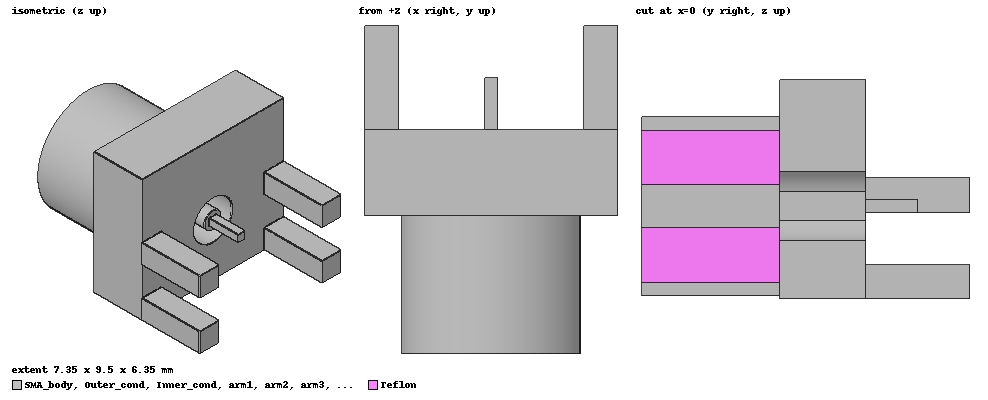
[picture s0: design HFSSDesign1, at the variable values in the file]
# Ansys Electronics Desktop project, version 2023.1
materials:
  vacuum: permittivity=1
  pec: conductivity=1e+30
  Teflon (tm): permittivity=2.1 dielectric_loss_tangent=0.001

design HFSSDesign1 (HFSS, HFSS Modal Network, model units mm)
options: Save_Adaptive_support_files
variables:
  SX = 7.35mm
  SY = 2.5mm
  SZ = 6.35mm
  subH = 1.5mm
  pinD = 0.36mm
  pinL = 1.5mm
  in = 0.43mm
  OutD = 2.6mm
  OutL = 4mm
  TefD = 2.2mm
  innerD = 0.63mm
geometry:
  SMA_body [pec] = box(corner=(-SX/2, 0mm, 0mm), size=(SX, SY, SZ))
  coordinate_system RelativeCS1 = origin=(3.675mm, 2.5mm, 0mm) x=(1mm, 0mm, 0mm) y=(0mm, 1mm, 0mm)
  arm1 [pec] = box(corner=(0mm, 0mm, 0mm), size=(-1mm, 3mm, 1mm)) in RelativeCS1
  coordinate_system RelativeCS2 = origin=(-7.35mm, 0mm, 0mm) x=(1mm, 0mm, 0mm) y=(0mm, 1mm, 0mm) in RelativeCS1
  arm2 [pec] = box(corner=(0mm, 0mm, 0mm), size=(1mm, 3mm, 1mm)) in RelativeCS2
  coordinate_system RelativeCS3 = origin=(0mm, 0mm, 1mm) x=(1mm, 0mm, 0mm) y=(0mm, 1mm, 0mm) in RelativeCS2
  coordinate_system RelativeCS4 = origin=(0mm, 0mm, subH) x=(1mm, 0mm, 0mm) y=(0mm, 1mm, 0mm) in RelativeCS3
  coordinate_system Center_CS = origin=(SX/2, 0mm, 0mm) x=(1mm, 0mm, 0mm) y=(0mm, 1mm, 0mm) in RelativeCS4
  coordinate_system pin_CS = origin=(0mm, 0mm, pinD/2) x=(1mm, 0mm, 0mm) y=(0mm, 1mm, 0mm) in Center_CS
  Center_pin [pec] = box(corner=(-pinD/2, 0mm, -pinD/2), size=(pinD, pinL, pinD)) in pin_CS
  Vacuum_cyl = cylinder(axis=Y, base_centre=(0mm, 0mm, 0mm), radius=1mm, height=-SY) in pin_CS
  SMA_body.subtract(Vacuum_cyl)
  inner_pin [pec] = cylinder(axis=Y, base_centre=(0mm, 0mm, 0mm), radius=in, height=-SY) in pin_CS
  coordinate_system Out_CS = origin=(0mm, -SY, 0mm) x=(1mm, 0mm, 0mm) y=(0mm, 1mm, 0mm) in pin_CS
  Outer_cond [pec] = cylinder(axis=Y, base_centre=(0mm, 0mm, 0mm), radius=OutD, height=-OutL) in Out_CS
  Teflon [Teflon (tm)] = cylinder(axis=Y, base_centre=(0mm, 0mm, 0mm), radius=TefD, height=-OutL) in Out_CS
  Teflon_1 = Teflon.copy()
  Outer_cond.subtract(Teflon_1)
  Inner_cond [pec] = cylinder(axis=Y, base_centre=(0mm, 0mm, 0mm), radius=innerD, height=-OutL) in Out_CS
  Inner_cond_1 = Inner_cond.copy()
  Teflon.subtract(Inner_cond_1)
  coordinate_system RelativeCS5 = origin=(0mm, -OutL, 0mm) x=(1mm, 0mm, 0mm) y=(0mm, 1mm, 0mm) in Out_CS
  Circle1 = circle(normal=Y, centre=(0mm, 0mm, 0mm), radius=OutD) in RelativeCS5
  arm3 [pec] = box(corner=(0mm, 0mm, 0mm), size=(1mm, 3mm, 1mm)) in RelativeCS4
  arm3_1 [pec] = arm3.duplicate_along_line(step=(SX-1mm, 0mm, 0mm), total=2) in RelativeCS4
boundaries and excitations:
  1: Wave Port Objects=Circle1 WavePortType=Modal NumModes=1 Modes{Mode1{CharImp=Zpi}}
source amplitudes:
  1:1: 1W 0deg
